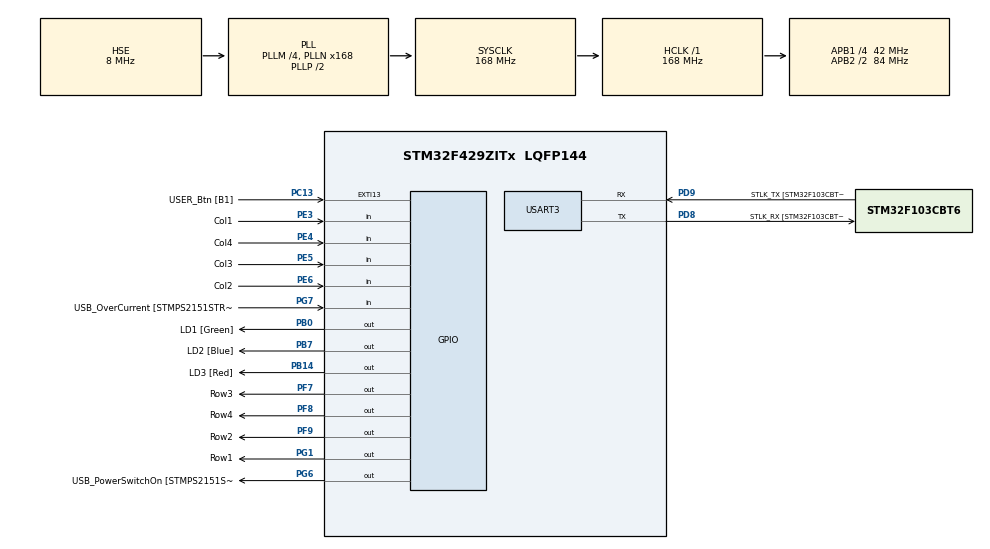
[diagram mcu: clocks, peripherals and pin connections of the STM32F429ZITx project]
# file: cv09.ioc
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Mcu.Family=STM32F4
Mcu.Name=STM32F429ZITx
Mcu.Package=LQFP144
NVIC.PriorityGroup=NVIC_PRIORITYGROUP_4
NVIC.TIM3_IRQn=true\:0\:0\:false\:false\:true\:true\:true\:true
PA1.GPIO_Label=RMII_REF_CLK [LAN8742A-CZ-TR_REFCLK0]
PA1.Signal=ETH_REF_CLK
PA10.GPIO_Label=USB_ID
PA10.Signal=USB_OTG_FS_ID
PA11.GPIO_Label=USB_DM
PA11.Signal=USB_OTG_FS_DM
PA12.GPIO_Label=USB_DP
PA12.Signal=USB_OTG_FS_DP
PA13.GPIO_Label=TMS
PA13.Mode=Serial_Wire
PA13.Signal=SYS_JTMS-SWDIO
PA14.GPIO_Label=TCK
PA14.Mode=Serial_Wire
PA14.Signal=SYS_JTCK-SWCLK
PA2.GPIO_Label=RMII_MDIO [LAN8742A-CZ-TR_MDIO]
PA2.Signal=ETH_MDIO
PA7.GPIO_Label=RMII_CRS_DV [LAN8742A-CZ-TR_CRS_DV]
PA7.Signal=ETH_CRS_DV
PA8.GPIO_Label=USB_SOF [TP1]
PA8.Signal=USB_OTG_FS_SOF
PA9.GPIO_Label=USB_VBUS
PA9.Signal=USB_OTG_FS_VBUS
PB0.GPIO_Label=LD1 [Green]
PB0.Signal=GPIO_Output
PB13.GPIO_Label=RMII_TXD1 [LAN8742A-CZ-TR_TXD1]
PB13.Signal=ETH_TXD1
PB14.GPIO_Label=LD3 [Red]
PB14.Signal=GPIO_Output
PB7.GPIO_Label=LD2 [Blue]
PB7.Signal=GPIO_Output
PC1.GPIO_Label=RMII_MDC [LAN8742A-CZ-TR_MDC]
PC1.Signal=ETH_MDC
PC13.GPIO_Label=USER_Btn [B1]
PC13.Signal=GPXTI13
PC14/OSC32_IN.Mode=LSE-External-Oscillator
PC14/OSC32_IN.Signal=RCC_OSC32_IN
PC15/OSC32_OUT.Mode=LSE-External-Oscillator
PC15/OSC32_OUT.Signal=RCC_OSC32_OUT
PC4.GPIO_Label=RMII_RXD0 [LAN8742A-CZ-TR_RXD0]
PC4.Signal=ETH_RXD0
PC5.GPIO_Label=RMII_RXD1 [LAN8742A-CZ-TR_RXD1]
PC5.Signal=ETH_RXD1
PD8.GPIO_Label=STLK_RX [STM32F103CBT6_PA3]
PD8.Mode=Asynchronous
PD8.Signal=USART3_TX
PD9.GPIO_Label=STLK_TX [STM32F103CBT6_PA2]
PD9.Mode=Asynchronous
PD9.Signal=USART3_RX
PE3.GPIO_Label=Col1
PE3.GPIO_PuPd=GPIO_PULLUP
PE3.Signal=GPIO_Input
PE4.GPIO_Label=Col4
PE4.GPIO_PuPd=GPIO_PULLUP
PE4.Signal=GPIO_Input
PE5.GPIO_Label=Col3
PE5.GPIO_PuPd=GPIO_PULLUP
PE5.Signal=GPIO_Input
PE6.GPIO_Label=Col2
PE6.GPIO_PuPd=GPIO_PULLUP
PE6.Signal=GPIO_Input
PF7.GPIO_Label=Row3
PF7.GPIO_ModeDefaultOutputPP=GPIO_MODE_OUTPUT_OD
PF7.GPIO_PuPd=GPIO_NOPULL
PF7.Signal=GPIO_Output
PF8.GPIO_Label=Row4
PF8.GPIO_ModeDefaultOutputPP=GPIO_MODE_OUTPUT_OD
PF8.GPIO_PuPd=GPIO_NOPULL
PF8.Signal=GPIO_Output
PF9.GPIO_Label=Row2
PF9.GPIO_ModeDefaultOutputPP=GPIO_MODE_OUTPUT_OD
PF9.GPIO_PuPd=GPIO_NOPULL
PF9.Signal=GPIO_Output
PG1.GPIO_Label=Row1
PG1.GPIO_ModeDefaultOutputPP=GPIO_MODE_OUTPUT_OD
PG1.GPIO_PuPd=GPIO_NOPULL
PG1.Signal=GPIO_Output
PG11.GPIO_Label=RMII_TX_EN [LAN8742A-CZ-TR_TXEN]
PG11.Signal=ETH_TX_EN
PG13.GPIO_Label=RMII_TXD0 [LAN8742A-CZ-TR_TXD0]
PG13.Signal=ETH_TXD0
PG6.GPIO_Label=USB_PowerSwitchOn [STMPS2151STR_EN]
PG6.Signal=GPIO_Output
PG7.GPIO_Label=USB_OverCurrent [STMPS2151STR_FAULT]
PG7.Signal=GPIO_Input
PH0/OSC_IN.GPIO_Label=MCO [STM32F103CBT6_PA8]
PH0/OSC_IN.Mode=HSE-External-Clock-Source
PH0/OSC_IN.Signal=RCC_OSC_IN
PH1/OSC_OUT.Mode=HSE-External-Clock-Source
PH1/OSC_OUT.Signal=RCC_OSC_OUT
ProjectManager.HeapSize=0x200
ProjectManager.StackSize=0x400
ProjectManager.TargetToolchain=STM32CubeIDE
RCC.48MHZClocksFreq_Value=48000000
RCC.AHBFreq_Value=168000000
RCC.APB1CLKDivider=RCC_HCLK_DIV4
RCC.APB1Freq_Value=42000000
RCC.APB1TimFreq_Value=84000000
RCC.APB2CLKDivider=RCC_HCLK_DIV2
RCC.APB2Freq_Value=84000000
RCC.APB2TimCLKDivider=2
RCC.APB2TimFreq_Value=168000000
RCC.CortexFreq_Value=168000000
RCC.HCLKFreq_Value=168000000
RCC.HSE_VALUE=8000000
RCC.HSI_VALUE=16000000
RCC.PLLM=4
RCC.PLLMUL=RCC_PLL_MUL9
RCC.PLLN=168
RCC.PLLQ=7
RCC.PLLSourceVirtual=RCC_PLLSOURCE_HSE
RCC.PRESCALERUSB=RCC_USBCLKSOURCE_PLL_DIV1_5
RCC.SYSCLKFreq_VALUE=168000000
RCC.SYSCLKSource=RCC_SYSCLKSOURCE_PLLCLK
RCC.SYSCLKSourceVirtual=RCC_SYSCLKSOURCE_PLLCLK
RCC.USBFreq_Value=48000000
RCC.VCOOutputFreq_Value=336000000
TIM3.AutoReloadPreload=TIM_AUTORELOAD_PRELOAD_ENABLE
TIM3.Period=99
TIM3.Prescaler=8399
USART3.VirtualMode=VM_ASYNC
VP_TIM3_VS_ClockSourceINT.Mode=Internal
board=NUCLEO-F429ZI

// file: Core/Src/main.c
/* USER CODE BEGIN Header */
/**
  ******************************************************************************
  * @file           : main.c
  * @brief          : Main program body
  ******************************************************************************
  * @attention
  *
  * Copyright (c) 2024 STMicroelectronics.
  * All rights reserved.
  *
  * This software is licensed under terms that can be found in the LICENSE file
  * in the root directory of this software component.
  * If no LICENSE file comes with this software, it is provided AS-IS.
  *
  ******************************************************************************
  */
/* USER CODE END Header */
#include "main.h"

/* USER CODE BEGIN Includes */
#include <stdio.h>
/* USER CODE END Includes */

TIM_HandleTypeDef htim3;

UART_HandleTypeDef huart3;

/* USER CODE BEGIN PV */
static volatile char key;
static volatile char password[5] = {'7', '9', '3', '2', '#'};

/* USER CODE END PV */

void SystemClock_Config(void);
static void MX_GPIO_Init(void);
static void MX_USART3_UART_Init(void);
static void MX_TIM3_Init(void);

/* USER CODE BEGIN 0 */

int __io_putchar(int ch)
{
	ITM_SendChar(ch);
	return 0;
}

/* USER CODE END 0 */

int main(void)
{

  /* MCU Configuration--------------------------------------------------------*/

  /* Reset of all peripherals, Initializes the Flash interface and the Systick. */
  HAL_Init();

  /* Configure the system clock */
  SystemClock_Config();

  /* Initialize all configured peripherals */
  MX_GPIO_Init();
  MX_USART3_UART_Init();
  MX_TIM3_Init();
  /* USER CODE BEGIN 2 */
  HAL_TIM_Base_Start_IT(&htim3);
  printf("Keyboard Ready\n");
  /* USER CODE END 2 */

  /* Infinite loop */
  while (1)
  {

	  /* USER CODE BEGIN 3 */
	  //	  HAL_GPIO_TogglePin(LD1_GPIO_Port, LD1_Pin);
	  //	  HAL_Delay(250);
	  //
	  //	  static uint32_t i;
	  //	  printf("Test %u\n", i++);

	  static uint32_t correct_pos;
	  static uint32_t delay;
	  static uint32_t pos;

	  if (key != 0) {
		  printf("pressed '%c'\n", key);
		  delay = HAL_GetTick();
		  pos++;
		  HAL_Delay(250);

		  if (key == password[correct_pos]){
			  correct_pos++;
		  }
		  else{
			  printf("===== Incorrect Password =====\n");
			  correct_pos = 0;
			  pos = 0;
			  for(uint8_t i = 0; i < 3; i++){
				  HAL_GPIO_WritePin(LD1_GPIO_Port, LD1_Pin, 1);
				  HAL_Delay(50);
				  HAL_GPIO_WritePin(LD1_GPIO_Port, LD1_Pin, 0);
				  HAL_Delay(50);
			  }
		  }

		  if (correct_pos >= sizeof(password)){
			  printf("===== Correct Password =====\n");
			  correct_pos = 0;
			  pos = 0;
			  HAL_GPIO_WritePin(LD1_GPIO_Port, LD1_Pin, 1);
			  HAL_Delay(500);
			  HAL_GPIO_WritePin(LD1_GPIO_Port, LD1_Pin, 0);

		  }

		  key = 0;
	  }

	  if ((HAL_GetTick() > delay + 3000) && (pos != 0)){
		  printf("===== Timeout =====\n");
		  correct_pos = 0;
		  pos = 0;
	  }

  }
  /* USER CODE END 3 */
}

void SystemClock_Config(void)
{
  RCC_OscInitTypeDef RCC_OscInitStruct = {0};
  RCC_ClkInitTypeDef RCC_ClkInitStruct = {0};

  /** Configure the main internal regulator output voltage
  */
  __HAL_RCC_PWR_CLK_ENABLE();
  __HAL_PWR_VOLTAGESCALING_CONFIG(PWR_REGULATOR_VOLTAGE_SCALE1);

  /** Initializes the RCC Oscillators according to the specified parameters
  * in the RCC_OscInitTypeDef structure.
  */
  RCC_OscInitStruct.OscillatorType = RCC_OSCILLATORTYPE_HSE;
  RCC_OscInitStruct.HSEState = RCC_HSE_BYPASS;
  RCC_OscInitStruct.PLL.PLLState = RCC_PLL_ON;
  RCC_OscInitStruct.PLL.PLLSource = RCC_PLLSOURCE_HSE;
  RCC_OscInitStruct.PLL.PLLM = 4;
  RCC_OscInitStruct.PLL.PLLN = 168;
  RCC_OscInitStruct.PLL.PLLP = RCC_PLLP_DIV2;
  RCC_OscInitStruct.PLL.PLLQ = 7;
  if (HAL_RCC_OscConfig(&RCC_OscInitStruct) != HAL_OK)
  {
    Error_Handler();
  }

  /** Initializes the CPU, AHB and APB buses clocks
  */
  RCC_ClkInitStruct.ClockType = RCC_CLOCKTYPE_HCLK|RCC_CLOCKTYPE_SYSCLK
                              |RCC_CLOCKTYPE_PCLK1|RCC_CLOCKTYPE_PCLK2;
  RCC_ClkInitStruct.SYSCLKSource = RCC_SYSCLKSOURCE_PLLCLK;
  RCC_ClkInitStruct.AHBCLKDivider = RCC_SYSCLK_DIV1;
  RCC_ClkInitStruct.APB1CLKDivider = RCC_HCLK_DIV4;
  RCC_ClkInitStruct.APB2CLKDivider = RCC_HCLK_DIV2;

  if (HAL_RCC_ClockConfig(&RCC_ClkInitStruct, FLASH_LATENCY_5) != HAL_OK)
  {
    Error_Handler();
  }
}

static void MX_TIM3_Init(void)
{

  TIM_ClockConfigTypeDef sClockSourceConfig = {0};
  TIM_MasterConfigTypeDef sMasterConfig = {0};

  htim3.Instance = TIM3;
  htim3.Init.Prescaler = 8399;
  htim3.Init.CounterMode = TIM_COUNTERMODE_UP;
  htim3.Init.Period = 99;
  htim3.Init.ClockDivision = TIM_CLOCKDIVISION_DIV1;
  htim3.Init.AutoReloadPreload = TIM_AUTORELOAD_PRELOAD_ENABLE;
  if (HAL_TIM_Base_Init(&htim3) != HAL_OK)
  {
    Error_Handler();
  }
  sClockSourceConfig.ClockSource = TIM_CLOCKSOURCE_INTERNAL;
  if (HAL_TIM_ConfigClockSource(&htim3, &sClockSourceConfig) != HAL_OK)
  {
    Error_Handler();
  }
  sMasterConfig.MasterOutputTrigger = TIM_TRGO_RESET;
  sMasterConfig.MasterSlaveMode = TIM_MASTERSLAVEMODE_DISABLE;
  if (HAL_TIMEx_MasterConfigSynchronization(&htim3, &sMasterConfig) != HAL_OK)
  {
    Error_Handler();
  }

}

static void MX_USART3_UART_Init(void)
{

  huart3.Instance = USART3;
  huart3.Init.BaudRate = 115200;
  huart3.Init.WordLength = UART_WORDLENGTH_8B;
  huart3.Init.StopBits = UART_STOPBITS_1;
  huart3.Init.Parity = UART_PARITY_NONE;
  huart3.Init.Mode = UART_MODE_TX_RX;
  huart3.Init.HwFlowCtl = UART_HWCONTROL_NONE;
  huart3.Init.OverSampling = UART_OVERSAMPLING_16;
  if (HAL_UART_Init(&huart3) != HAL_OK)
  {
    Error_Handler();
  }

}

static void MX_GPIO_Init(void)
{
  GPIO_InitTypeDef GPIO_InitStruct = {0};

  /* GPIO Ports Clock Enable */
  __HAL_RCC_GPIOE_CLK_ENABLE();
  __HAL_RCC_GPIOC_CLK_ENABLE();
  __HAL_RCC_GPIOF_CLK_ENABLE();
  __HAL_RCC_GPIOH_CLK_ENABLE();
  __HAL_RCC_GPIOA_CLK_ENABLE();
  __HAL_RCC_GPIOB_CLK_ENABLE();
  __HAL_RCC_GPIOG_CLK_ENABLE();
  __HAL_RCC_GPIOD_CLK_ENABLE();

  /*Configure GPIO pin Output Level */
  HAL_GPIO_WritePin(GPIOF, Row3_Pin|Row4_Pin|Row2_Pin, GPIO_PIN_RESET);

  /*Configure GPIO pin Output Level */
  HAL_GPIO_WritePin(GPIOB, LD1_Pin|LD3_Pin|LD2_Pin, GPIO_PIN_RESET);

  /*Configure GPIO pin Output Level */
  HAL_GPIO_WritePin(GPIOG, Row1_Pin|USB_PowerSwitchOn_Pin, GPIO_PIN_RESET);

  /*Configure GPIO pins : Col1_Pin Col4_Pin Col3_Pin Col2_Pin */
  GPIO_InitStruct.Pin = Col1_Pin|Col4_Pin|Col3_Pin|Col2_Pin;
  GPIO_InitStruct.Mode = GPIO_MODE_INPUT;
  GPIO_InitStruct.Pull = GPIO_PULLUP;
  HAL_GPIO_Init(GPIOE, &GPIO_InitStruct);

  /*Configure GPIO pin : USER_Btn_Pin */
  GPIO_InitStruct.Pin = USER_Btn_Pin;
  GPIO_InitStruct.Mode = GPIO_MODE_IT_RISING;
  GPIO_InitStruct.Pull = GPIO_NOPULL;
  HAL_GPIO_Init(USER_Btn_GPIO_Port, &GPIO_InitStruct);

  /*Configure GPIO pins : Row3_Pin Row4_Pin Row2_Pin */
  GPIO_InitStruct.Pin = Row3_Pin|Row4_Pin|Row2_Pin;
  GPIO_InitStruct.Mode = GPIO_MODE_OUTPUT_OD;
  GPIO_InitStruct.Pull = GPIO_NOPULL;
  GPIO_InitStruct.Speed = GPIO_SPEED_FREQ_LOW;
  HAL_GPIO_Init(GPIOF, &GPIO_InitStruct);

  /*Configure GPIO pins : RMII_MDC_Pin RMII_RXD0_Pin RMII_RXD1_Pin */
  GPIO_InitStruct.Pin = RMII_MDC_Pin|RMII_RXD0_Pin|RMII_RXD1_Pin;
  GPIO_InitStruct.Mode = GPIO_MODE_AF_PP;
  GPIO_InitStruct.Pull = GPIO_NOPULL;
  GPIO_InitStruct.Speed = GPIO_SPEED_FREQ_VERY_HIGH;
  GPIO_InitStruct.Alternate = GPIO_AF11_ETH;
  HAL_GPIO_Init(GPIOC, &GPIO_InitStruct);

  /*Configure GPIO pins : RMII_REF_CLK_Pin RMII_MDIO_Pin RMII_CRS_DV_Pin */
  GPIO_InitStruct.Pin = RMII_REF_CLK_Pin|RMII_MDIO_Pin|RMII_CRS_DV_Pin;
  GPIO_InitStruct.Mode = GPIO_MODE_AF_PP;
  GPIO_InitStruct.Pull = GPIO_NOPULL;
  GPIO_InitStruct.Speed = GPIO_SPEED_FREQ_VERY_HIGH;
  GPIO_InitStruct.Alternate = GPIO_AF11_ETH;
  HAL_GPIO_Init(GPIOA, &GPIO_InitStruct);

  /*Configure GPIO pins : LD1_Pin LD3_Pin LD2_Pin */
  GPIO_InitStruct.Pin = LD1_Pin|LD3_Pin|LD2_Pin;
  GPIO_InitStruct.Mode = GPIO_MODE_OUTPUT_PP;
  GPIO_InitStruct.Pull = GPIO_NOPULL;
  GPIO_InitStruct.Speed = GPIO_SPEED_FREQ_LOW;
  HAL_GPIO_Init(GPIOB, &GPIO_InitStruct);

  /*Configure GPIO pin : Row1_Pin */
  GPIO_InitStruct.Pin = Row1_Pin;
  GPIO_InitStruct.Mode = GPIO_MODE_OUTPUT_OD;
  GPIO_InitStruct.Pull = GPIO_NOPULL;
  GPIO_InitStruct.Speed = GPIO_SPEED_FREQ_LOW;
  HAL_GPIO_Init(Row1_GPIO_Port, &GPIO_InitStruct);

  /*Configure GPIO pin : RMII_TXD1_Pin */
  GPIO_InitStruct.Pin = RMII_TXD1_Pin;
  GPIO_InitStruct.Mode = GPIO_MODE_AF_PP;
  GPIO_InitStruct.Pull = GPIO_NOPULL;
  GPIO_InitStruct.Speed = GPIO_SPEED_FREQ_VERY_HIGH;
  GPIO_InitStruct.Alternate = GPIO_AF11_ETH;
  HAL_GPIO_Init(RMII_TXD1_GPIO_Port, &GPIO_InitStruct);

  /*Configure GPIO pin : USB_PowerSwitchOn_Pin */
  GPIO_InitStruct.Pin = USB_PowerSwitchOn_Pin;
  GPIO_InitStruct.Mode = GPIO_MODE_OUTPUT_PP;
  GPIO_InitStruct.Pull = GPIO_NOPULL;
  GPIO_InitStruct.Speed = GPIO_SPEED_FREQ_LOW;
  HAL_GPIO_Init(USB_PowerSwitchOn_GPIO_Port, &GPIO_InitStruct);

  /*Configure GPIO pin : USB_OverCurrent_Pin */
  GPIO_InitStruct.Pin = USB_OverCurrent_Pin;
  GPIO_InitStruct.Mode = GPIO_MODE_INPUT;
  GPIO_InitStruct.Pull = GPIO_NOPULL;
  HAL_GPIO_Init(USB_OverCurrent_GPIO_Port, &GPIO_InitStruct);

  /*Configure GPIO pins : USB_SOF_Pin USB_ID_Pin USB_DM_Pin USB_DP_Pin */
  GPIO_InitStruct.Pin = USB_SOF_Pin|USB_ID_Pin|USB_DM_Pin|USB_DP_Pin;
  GPIO_InitStruct.Mode = GPIO_MODE_AF_PP;
  GPIO_InitStruct.Pull = GPIO_NOPULL;
  GPIO_InitStruct.Speed = GPIO_SPEED_FREQ_VERY_HIGH;
  GPIO_InitStruct.Alternate = GPIO_AF10_OTG_FS;
  HAL_GPIO_Init(GPIOA, &GPIO_InitStruct);

  /*Configure GPIO pin : USB_VBUS_Pin */
  GPIO_InitStruct.Pin = USB_VBUS_Pin;
  GPIO_InitStruct.Mode = GPIO_MODE_INPUT;
  GPIO_InitStruct.Pull = GPIO_NOPULL;
  HAL_GPIO_Init(USB_VBUS_GPIO_Port, &GPIO_InitStruct);

  /*Configure GPIO pins : RMII_TX_EN_Pin RMII_TXD0_Pin */
  GPIO_InitStruct.Pin = RMII_TX_EN_Pin|RMII_TXD0_Pin;
  GPIO_InitStruct.Mode = GPIO_MODE_AF_PP;
  GPIO_InitStruct.Pull = GPIO_NOPULL;
  GPIO_InitStruct.Speed = GPIO_SPEED_FREQ_VERY_HIGH;
  GPIO_InitStruct.Alternate = GPIO_AF11_ETH;
  HAL_GPIO_Init(GPIOG, &GPIO_InitStruct);

}

/* USER CODE BEGIN 4 */
void HAL_TIM_PeriodElapsedCallback(TIM_HandleTypeDef *htim)
{
	static uint8_t row = 0;
	static const char keyboard[4][4] = {
			{ '1', '2', '3', 'A' },
			{ '4', '5', '6', 'B' },
			{ '7', '8', '9', 'C' },
			{ '*', '0', '#', 'D' },
	};

	if (key == 0) {
		if (HAL_GPIO_ReadPin(Col1_GPIO_Port, Col1_Pin) == GPIO_PIN_RESET) {
			key = keyboard[row][0];
		}
		if (HAL_GPIO_ReadPin(Col2_GPIO_Port, Col2_Pin) == GPIO_PIN_RESET) {
			key = keyboard[row][1];
		}
		if (HAL_GPIO_ReadPin(Col3_GPIO_Port, Col3_Pin) == GPIO_PIN_RESET) {
			key = keyboard[row][2];
		}
		if (HAL_GPIO_ReadPin(Col4_GPIO_Port, Col4_Pin) == GPIO_PIN_RESET) {
			key = keyboard[row][3];
		}
	}

	HAL_GPIO_WritePin(Row1_GPIO_Port, Row1_Pin, GPIO_PIN_SET);
	HAL_GPIO_WritePin(Row2_GPIO_Port, Row2_Pin, GPIO_PIN_SET);
	HAL_GPIO_WritePin(Row3_GPIO_Port, Row3_Pin, GPIO_PIN_SET);
	HAL_GPIO_WritePin(Row4_GPIO_Port, Row4_Pin, GPIO_PIN_SET);

	switch (row) {
	case 0:
		row = 1;
		HAL_GPIO_WritePin(Row2_GPIO_Port, Row2_Pin, GPIO_PIN_RESET);
		break;
	case 1:
		row = 2;
		HAL_GPIO_WritePin(Row3_GPIO_Port, Row3_Pin, GPIO_PIN_RESET);
		break;
	case 2:
		row = 3;
		HAL_GPIO_WritePin(Row4_GPIO_Port, Row4_Pin, GPIO_PIN_RESET);
		break;
	case 3:
		row = 0;
		HAL_GPIO_WritePin(Row1_GPIO_Port, Row1_Pin, GPIO_PIN_RESET);
		break;
	}
}
/* USER CODE END 4 */

void Error_Handler(void)
{
  __disable_irq();
  while (1)
  {
  }
}
